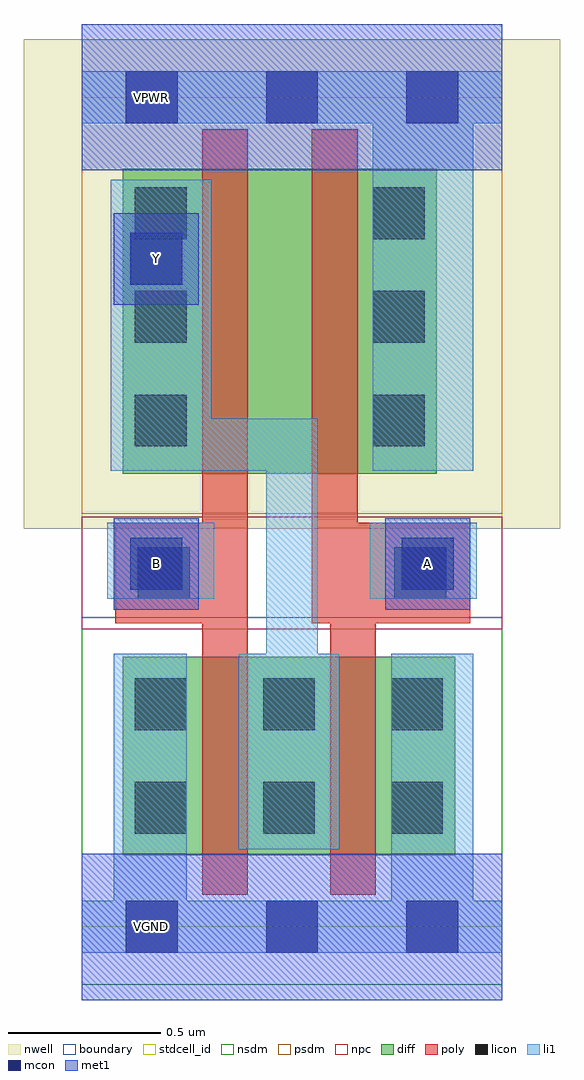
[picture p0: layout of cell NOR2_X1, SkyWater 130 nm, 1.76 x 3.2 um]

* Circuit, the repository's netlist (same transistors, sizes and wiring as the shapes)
.subckt NOR2_X1 A B Y VPWR VGND VNB
M0 m0 A VPWR nwell_i sky130_fd_pr__pfet_01v8 L=0.15u W=1.0u
M1 Y B m0 nwell_i sky130_fd_pr__pfet_01v8 L=0.15u W=1.0u
M2 Y A VGND VNB sky130_fd_pr__nfet_01v8 L=0.15u W=0.65u
M3 Y B VGND VNB sky130_fd_pr__nfet_01v8 L=0.15u W=0.65u
.ends

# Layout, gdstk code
import gdstk
lib = gdstk.Library(unit=1e-6, precision=1e-09)
def R(c, l, rs):  # rectangles x0, y0, x1, y1
    for r in rs: c.add(gdstk.rectangle(r[:2], r[2:], *l))
def A(c, l, x, y, w, h, nx, ny, dx, dy):  # array of equal rectangles
    R(c, l, [(x+i*dx, y+j*dy, x+i*dx+w, y+j*dy+h) for i in range(nx) for j in range(ny)])
nwell = (64, 20)
diff = (65, 20)
poly = (66, 20)
licon = (66, 44)
li1 = (67, 20)
mcon = (67, 44)
met1 = (68, 20)
stdcell_id = (81, 4)
nsdm = (93, 44)
psdm = (94, 20)
npc = (95, 20)
boundary = (235, 4)

nor2_x1 = lib.new_cell('NOR2_X1')
R(nor2_x1, nwell, [(-0.19,1.305,1.57,2.91)])
R(nor2_x1, diff, [(0.135,0.235,1.225,0.885), (0.135,1.485,1.165,2.485)])
R(nor2_x1, poly, [(0.395,0.105,0.545,2.615), (0.815,0.105,0.965,1.175), (0.11,0.995,0.395,1.325), (0.755,0.995,0.965,1.325), (0.965,0.995,1.275,1.325), (0.755,1.175,0.905,2.615)])
A(nor2_x1, licon, 0.175, 0.305, 0.17, 0.17, 3, 2, 0.42, 0.34)
A(nor2_x1, licon, 0.175, 1.575, 0.17, 0.17, 1, 3, 0, 0.34)
A(nor2_x1, licon, 0.955, 1.575, 0.17, 0.17, 1, 3, 0, 0.34)
R(nor2_x1, licon, [(0.185,1.075,0.355,1.245), (1.025,1.075,1.195,1.245)])
R(nor2_x1, li1, [(0,-0.085,1.38,0.085), (0.105,0.085,0.345,0.895), (1.015,0.085,1.285,0.895), (0.515,0.255,0.845,0.895), (0.605,0.895,0.775,1.495), (0.085,1.075,0.435,1.325), (0.945,1.075,1.295,1.325), (0.095,1.495,0.775,1.665), (0.095,1.495,0.425,2.45), (0.955,1.495,1.285,2.635), (0,2.635,1.38,2.805)])
A(nor2_x1, mcon, 0.145, -0.085, 0.17, 0.17, 3, 2, 0.46, 2.72)
R(nor2_x1, mcon, [(0.16,1.105,0.33,1.275), (1.05,1.105,1.22,1.275), (0.16,2.105,0.33,2.275)])
R(nor2_x1, met1, [(0,-0.24,1.38,0.24), (0.105,1.04,0.385,1.34), (0.995,1.04,1.275,1.34), (0.105,2.04,0.385,2.34), (0,2.48,1.38,2.96)])
R(nor2_x1, stdcell_id, [(0,0,1.38,2.72)])
R(nor2_x1, nsdm, [(0,-0.19,1.38,1.015)])
R(nor2_x1, psdm, [(0,1.355,1.38,2.91)])
R(nor2_x1, npc, [(0,0.975,1.38,1.345)])
R(nor2_x1, boundary, [(0,0,1.38,2.72)])
nor2_x1.add(gdstk.Label('VPWR', (0.23,2.72), layer=68, texttype=5))
nor2_x1.add(gdstk.Label('VGND', (0.23,0), layer=68, texttype=5))
nor2_x1.add(gdstk.Label('B', (0.245,1.19), layer=68, texttype=5))
nor2_x1.add(gdstk.Label('A', (1.135,1.19), layer=68, texttype=5))
nor2_x1.add(gdstk.Label('Y', (0.245,2.19), layer=68, texttype=5))

lib.write_gds('NOR2_X1.gds')
